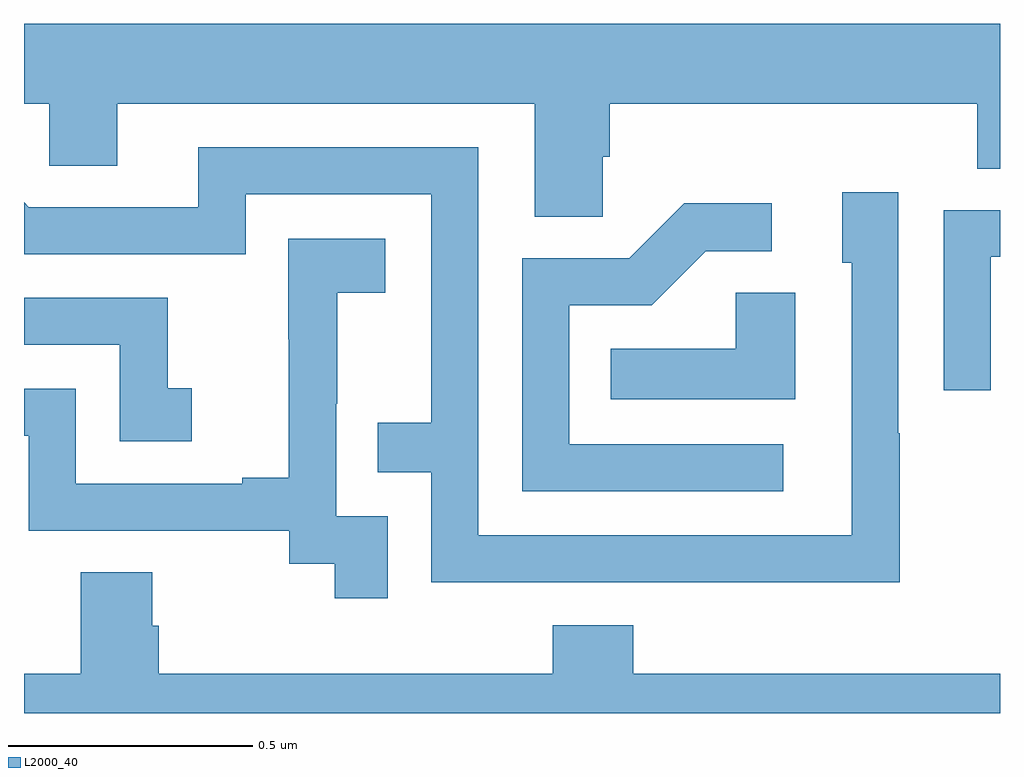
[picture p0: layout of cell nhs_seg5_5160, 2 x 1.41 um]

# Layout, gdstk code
import gdstk
lib = gdstk.Library(unit=1e-6, precision=1e-09)
def P(c, l, *ps):  # polygons
    for p in ps: c.add(gdstk.Polygon(p, *l))
L2000_40 = (2000, 40)

nhs_seg5_5160 = lib.new_cell('nhs_seg5_5160')
P(nhs_seg5_5160, L2000_40, [(180.186,901.939),(180.2,901.939),(180.2,902.048),(180.953,902.048),(180.953,901.915),(181,901.915),(181,902.212),(179,902.212),(179,902.048),(179.052,902.048),(179.052,901.921),(179.191,901.921),(179.191,902.048),(180.047,902.048),(180.047,901.816),(180.186,901.816)],
  [(180.795,901.373),(180.792,901.373),(180.792,901.867),(180.677,901.867),(180.677,901.722),(180.696,901.722),(180.696,901.164),(179.931,901.164),(179.931,901.959),(179.357,901.959),(179.357,901.836),(179.01,901.836),(179,901.846),(179,901.74),(179.454,901.74),(179.454,901.863),(179.835,901.863),(179.835,901.394),(179.725,901.394),(179.725,901.293),(179.835,901.293),(179.835,901.068),(180.331,901.068),(180.331,901.067),(180.795,901.067)],
  [(180.556,901.35),(180.117,901.35),(180.117,901.635),(180.286,901.635),(180.397,901.746),(180.532,901.746),(180.532,901.844),(180.353,901.844),(180.24,901.731),(180.021,901.731),(180.021,901.254),(180.556,901.254)],
  [(180.981,901.734),(181,901.734),(181,901.83),(180.885,901.83),(180.885,901.461),(180.981,901.461)],
  [(179.745,901.203),(179.64,901.203),(179.64,901.433),(179.642,901.433),(179.642,901.661),(179.74,901.661),(179.74,901.771),(179.542,901.771),(179.542,901.565),(179.543,901.565),(179.543,901.282),(179.447,901.282),(179.447,901.269),(179.106,901.269),(179.106,901.464),(179,901.464),(179,901.368),(179.01,901.368),(179.01,901.173),(179.544,901.173),(179.544,901.105),(179.637,901.105),(179.637,901.035),(179.745,901.035)],
  [(180.58,901.661),(180.459,901.661),(180.459,901.546),(180.202,901.546),(180.202,901.442),(180.58,901.442)],
  [(179.344,901.465),(179.295,901.465),(179.295,901.65),(179,901.65),(179,901.554),(179.196,901.554),(179.196,901.356),(179.344,901.356)],
  [(181,900.88),(180.248,900.88),(180.248,900.979),(180.083,900.979),(180.083,900.88),(179.276,900.88),(179.276,900.978),(179.263,900.978),(179.263,901.088),(179.116,901.088),(179.116,900.88),(179,900.88),(179,900.799),(181,900.799)])

lib.write_gds('nhs_seg5_5160.gds')
